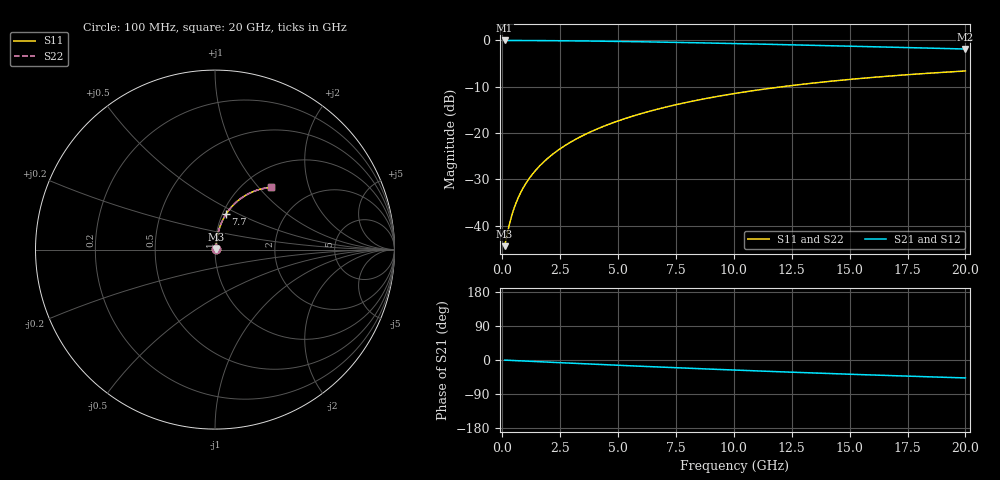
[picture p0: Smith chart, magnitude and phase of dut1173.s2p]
! Touchstone file exported from HFSS 2024.1.0
!  File:  C:/UserFiles/LocalFiles/RDL_TSV_Batchsim/temp_RDL_bottom_1173_1780056919.aedt
!  Generated:  08:17:55 PM May 29, 2026
!  Design:  RDL_bottom
!  Project:  temp_RDL_bottom_1173_1780056919
!  Setup:  Setup1
!  Solution:  Sweep
! Variables:
!  dtsv = 10.80580581um
!  hbump = 3um
!  htsv = 65.61um
!  ldown = 642.77um
!  lrdl = 100um
!  p = 40
!  p1 = 49.25um
!  rhole = 1um
!  t = 450um
!  tdown = 2.61um
!  trdl = 3.915915916um
!  wdown = 17.04um
!  wrdl = 20um
# GHz S MA R 50.000000
! Terminal data exported
! Port[1] = RDL1_T1
! Port[2] = RDL1_T2
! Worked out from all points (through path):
!   200 points, 100 MHz to 20 GHz, reference 50 ohm
!   highest |S21| = -0.05 dB at 100 MHz (marker M1); lowest = -1.9 dB at 20 GHz (marker M2)
!   group delay of S21, straight-line fit = 6.56 ps
!   lowest |S11| = -44.4 dB at 100 MHz (marker M3), VSWR 1.01, Z = 50.5 + j0.29 ohm
!   |S11| at or under -10 dB: start of sweep to 12.13 GHz
!   |S22| runs from -44.4 to -6.6 dB; largest |S21 - S12| = 2.6e-15
!   S11 on the Smith chart (normalised r, x): 100 MHz: 1.01, +0.01; 7.7 GHz: 1.04, +0.43; 20 GHz: 1.32, +1.17
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0.1  0.006014 28.5  0.9947 -0.3  0.9947 -0.3  0.006014 28.5
! Gamma 0 0 0 0
! Port Impedance 50 0 50 0
0.3  0.01017 56.8  0.9944 -0.9  0.9944 -0.9  0.01017 56.8
0.4  0.01266 62.8  0.9942 -1.2  0.9942 -1.2  0.01266 62.8
0.5  0.0152 66.8  0.994 -1.5  0.994 -1.5  0.0152 66.8
0.6  0.01777 69.5  0.9937 -1.7  0.9937 -1.7  0.01777 69.5
0.7  0.02034 71.5  0.9935 -2.0  0.9935 -2.0  0.02034 71.5
0.9  0.0255 74.3  0.993 -2.6  0.993 -2.6  0.0255 74.3
1.2  0.03329 76.8  0.9922 -3.4  0.9922 -3.4  0.03329 76.8
1.4  0.03851 77.8  0.9917 -4.0  0.9917 -4.0  0.03851 77.8
1.7  0.04639 78.8  0.9907 -4.9  0.9907 -4.9  0.04639 78.8
2.2  0.05962 79.7  0.9889 -6.3  0.9889 -6.3  0.05962 79.7
2.8  0.07561 79.8  0.9861 -7.9  0.9861 -7.9  0.07561 79.8
3.5  0.09439 79.5  0.9822 -9.9  0.9822 -9.9  0.0944 79.5
4.2  0.1133 78.7  0.9776 -11.8  0.9776 -11.8  0.1133 78.7
5  0.1349 77.6  0.9715 -13.9  0.9715 -13.9  0.1349 77.6
5.9  0.1591 76.1  0.9639 -16.3  0.9639 -16.3  0.1591 76.1
6.8  0.1832 74.5  0.9556 -18.6  0.9556 -18.6  0.1832 74.5
7.7  0.207 72.7  0.9466 -20.9  0.9466 -20.9  0.207 72.7
10.1  0.2681 67.7  0.9205 -26.7  0.9205 -26.7  0.2681 67.8
13.4  0.3446 60.8  0.8819 -34.2  0.8819 -34.2  0.3446 60.8
16.7  0.4106 54.2  0.8426 -41.0  0.8426 -41.0  0.4107 54.2
20  0.4661 48.0  0.8045 -47.3  0.8045 -47.3  0.4662 48.0
